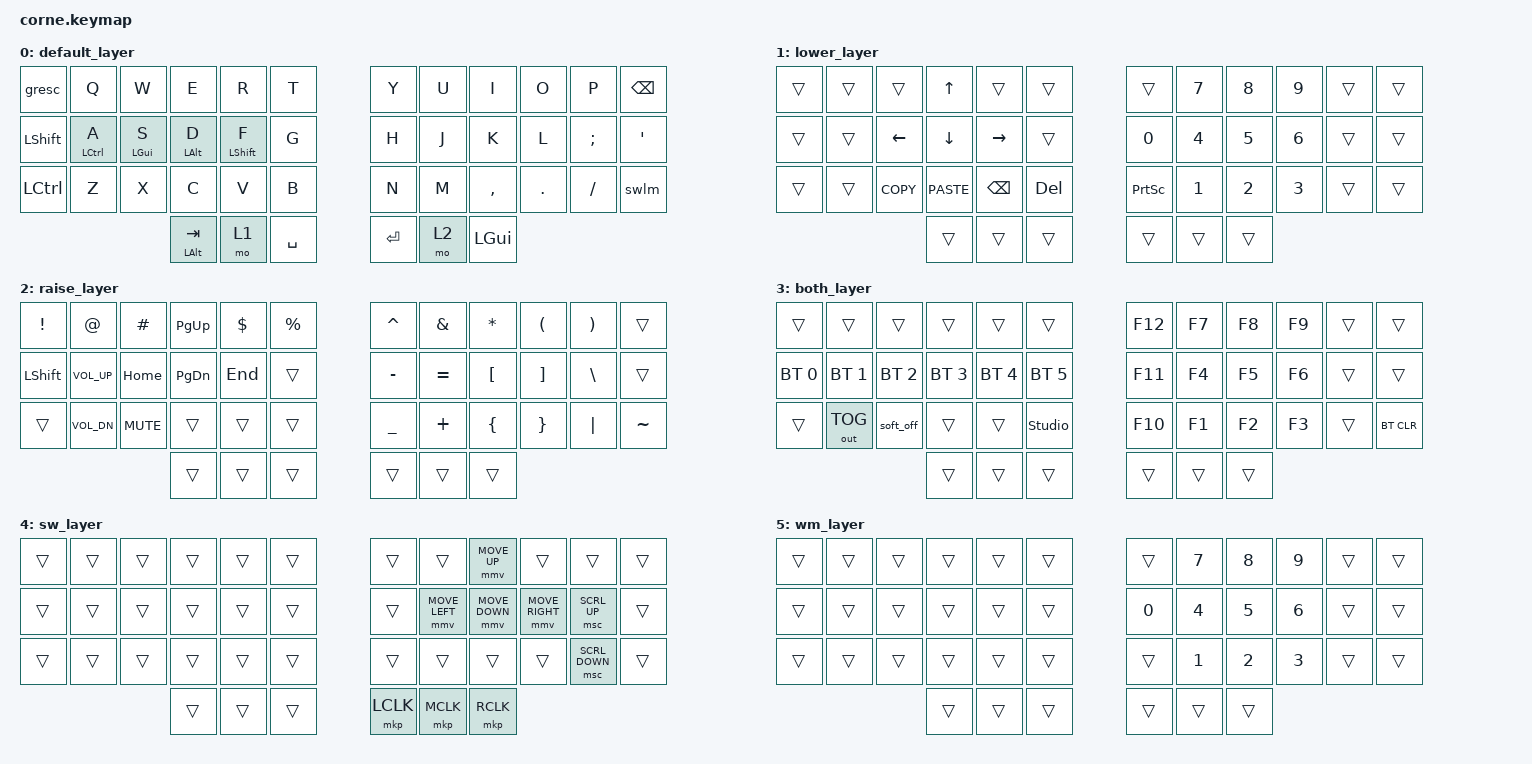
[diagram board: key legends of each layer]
#include <behaviors.dtsi>
#include <dt-bindings/zmk/keys.h>
#include <dt-bindings/zmk/bt.h>

// --------------- mouse
// https://zmk.dev/docs/keymaps/behaviors/mouse-emulation#advanced-configuration
#define ZMK_POINTING_DEFAULT_MOVE_VAL 800  // default: 600
#define ZMK_POINTING_DEFAULT_SCRL_VAL 180    // default: 10

#include <dt-bindings/zmk/pointing.h>
// ----------------------

#include <dt-bindings/zmk/outputs.h>

// https://zmk.dev/docs/config/behaviors#two-axis-input
&mmv { // mouse movement
    x-input-code = <INPUT_REL_X>;
    y-input-code = <INPUT_REL_Y>;
    time-to-max-speed-ms = <600>;
    // 0 - uniform speed, 1 - uniform acceleration, 2 - linear acceleration
    acceleration-exponent = <1>;
};

&msc { // mouse scroll
    x-input-code = <INPUT_REL_HWHEEL>;
    y-input-code = <INPUT_REL_WHEEL>;
    // time-to-max-speed-ms = <500>;
    // 0 - uniform speed, 1 - uniform acceleration, 2 - linear acceleration
    // acceleration-exponent = <1>;
};

// https://zmk.dev/docs/keymaps/behaviors/soft-off
//&soft_off {
    // Its actually inconvenient :((
    // hold-time-ms = <5000>;         // Only turn off it the key is held for 5 seconds or longer.
//};

/ {

    // https://zmk.dev/docs/keymaps/conditional-layers
    conditional_layers {
        compatible = "zmk,conditional-layers";
        tri_layer {
            if-layers = <1 2>;
            then-layer = <3>;
        };
    };

    combos {
        compatible = "zmk,combos";
        combo_mouse_layer {
            timeout-ms = <150>;
            key-positions = <38 17>; // SPACE G
            bindings = <&mo 4>;
        };
    };

    // https://zmk.dev/docs/features/low-power-states#wakeup-sources
    kscan: kscan {
        compatible = "zmk,kscan-gpio-matrix";
        diode-direction = "col2row";
        wakeup-source;
    };

    macros {
        /**
        * Temporarily switches to a layer (`&mo`) while a modifier is held.
        * Analogous to QMK's `LM()`, using a parameterized macro.
        *
        * Params:
        *  1. Layer to switch to
        *  2. Modifier to press while layer is active
        *
        * Example:
        *  `&lm NUM_LAYER LSHIFT`
        */
        lm: lm {
            compatible = "zmk,behavior-macro-two-param";
            wait-ms = <0>;
            tap-ms = <0>;
            #binding-cells = <2>;
            bindings
                = <&macro_param_1to1>
                , <&macro_press &mo MACRO_PLACEHOLDER>
                , <&macro_param_2to1>
                , <&macro_press &kp MACRO_PLACEHOLDER>
                , <&macro_pause_for_release>
                , <&macro_param_2to1>
                , <&macro_release &kp MACRO_PLACEHOLDER>
                , <&macro_param_1to1>
                , <&macro_release &mo MACRO_PLACEHOLDER>
                ;
        };

        swlm: swlm { //switch language macro
            compatible = "zmk,behavior-macro";
            #binding-cells = <0>;
            bindings
                = <&macro_press &kp LALT>
                , <&macro_tap &kp SPACE>
                , <&macro_release &kp LALT>
                ;
        };
    };

    behaviors {
      hm: homerow_mods {
            compatible = "zmk,behavior-hold-tap";
            #binding-cells = <2>;
            tapping-term-ms = <600>;
            quick-tap-ms = <0>;
            flavor = "tap-preferred";
            bindings = <&kp>, <&kp>;
        };
    };



    keymap {
        compatible = "zmk,keymap";

        default_layer { // 0th
            bindings = <
//┌──────────────┬────────────┬────────────┬────────────┬────────────┬────────┐      ┌────────────┬──────────────┬───────────────┬───────────────┬────────────────┬─────────────────┐
   &gresc          &kp Q        &kp W        &kp E       &kp R         &kp T            &kp Y         &kp U           &kp I          &kp O            &kp P            &kp BSPC
//├──────────────┼────────────┼────────────┼────────────┼────────────┼────────┤      ├────────────┼──────────────┼───────────────┼───────────────┼────────────────┼─────────────────┤
   &kp LSHIFT      &hm LCTRL A  &hm LGUI S   &hm LALT D  &hm LSHIFT F  &kp G            &kp H         &kp J           &kp K          &kp L            &kp SEMI         &kp SQT
//├──────────────┼────────────┼────────────┼────────────┼────────────┼────────┤      ├────────────┼──────────────┼───────────────┼───────────────┼────────────────┼─────────────────┤
   &kp LCTRL       &kp Z        &kp X        &kp C       &kp V         &kp B            &kp N         &kp M           &kp COMMA      &kp DOT          &kp FSLH         &swlm
//└──────────────┴────────────┴────────────┴────────────┴────────────┴────────┘      └────────────┴──────────────┴───────────────┴───────────────┴────────────────┴─────────────────┘
//                                                 ┌────────┬────────┬────────┐      ┌────────┬────────┬────────┐
                                                &mt LALT TAB   &mo 1  &kp SPACE       &kp RET   &mo 2   &kp LGUI
//                                                 └────────┴────────┴────────┘      └────────┴────────┴────────┘
            >;
     };

        lower_layer { // 1st
            bindings = <
//┌──────────┬────────────┬────────────┬────────────┬──────────┬────────┐      ┌────────────┬──────────────┬───────────────┬───────────────┬────────────────┬─────────────────┐
    &trans      &trans       &trans       &kp UP      &trans     &trans            &trans       &kp N7         &kp N8          &kp N9           &trans          &trans
//├──────────┼────────────┼────────────┼────────────┼──────────┼────────┤      ├────────────┼──────────────┼───────────────┼───────────────┼────────────────┼─────────────────┤
    &trans     &trans      &kp LEFT      &kp DOWN    &kp RIGHT  &trans            &kp N0       &kp N4         &kp N5          &kp N6        &trans            &trans
//├──────────┼────────────┼────────────┼────────────┼──────────┼────────┤      ├────────────┼──────────────┼───────────────┼───────────────┼────────────────┼─────────────────┤
    &trans      &trans      &kp K_COPY   &kp K_PASTE  &kp BSPC   &kp DEL         &kp PSCRN      &kp N1         &kp N2          &kp N3        &trans            &trans
//└──────────┴────────────┴────────────┴────────────┴──────────┴────────┘      └────────────┴──────────────┴───────────────┴───────────────┴────────────────┴─────────────────┘
//                                           ┌────────┬────────┬────────┐      ┌────────┬────────┬────────┐
                                              &trans    &trans   &trans          &trans   &trans   &trans
//                                           └────────┴────────┴────────┘      └────────┴────────┴────────┘
            >;
        }; 

        raise_layer { // 2nd
            bindings = <
//┌──────────┬────────────┬────────────┬────────────┬──────────┬────────┐      ┌────────────┬──────────────┬───────────────┬───────────────┬────────────────┬─────────────────┐
    &kp EXCL     &kp AT     &kp HASH    &kp PAGE_UP   &kp DLLR  &kp PRCNT        &kp CARET     &kp AMPS       &kp ASTRK       &kp LPAR        &kp RPAR         &trans
//├──────────┼────────────┼────────────┼────────────┼──────────┼────────┤      ├────────────┼──────────────┼───────────────┼───────────────┼────────────────┼─────────────────┤
   &kp LSHFT  &kp C_VOL_UP  &kp HOME   &kp PAGE_DOWN  &kp END    &trans          &kp MINUS     &kp EQUAL      &kp LBKT        &kp RBKT        &kp BSLH         &trans
//├──────────┼────────────┼────────────┼────────────┼──────────┼────────┤      ├────────────┼──────────────┼───────────────┼───────────────┼────────────────┼─────────────────┤
   &trans     &kp C_VOL_DN  &kp C_MUTE    &trans      &trans     &trans          &kp UNDER     &kp PLUS       &kp LBRC        &kp RBRC        &kp PIPE         &kp TILDE
//└──────────┴────────────┴────────────┴────────────┴──────────┴────────┘      └────────────┴──────────────┴───────────────┴───────────────┴────────────────┴─────────────────┘
//                                           ┌────────┬────────┬────────┐      ┌────────┬────────┬────────┐
                                              &trans    &trans   &trans          &trans   &trans   &trans
//                                           └────────┴────────┴────────┘      └────────┴────────┴────────┘
            >;
        };

        both_layer { // 3rd
            bindings = <
//┌────────────┬────────────┬────────────┬────────────┬──────────┬────────┐      ┌────────────┬──────────────┬───────────────┬───────────────┬────────────────┬─────────────────┐
   &trans          &trans       &trans      &trans       &trans    &trans            &kp F12       &kp F7         &kp F8        &kp F9          &trans            &trans
//├────────────┼────────────┼────────────┼────────────┼──────────┼────────┤      ├────────────┼──────────────┼───────────────┼───────────────┼────────────────┼─────────────────┤
   &bt BT_SEL 0 &bt BT_SEL 1 &bt BT_SEL 2 &bt BT_SEL 3 &bt BT_SEL 4 &bt BT_SEL 5     &kp F11       &kp F4         &kp F5        &kp F6          &trans            &trans
//├────────────┼────────────┼────────────┼────────────┼──────────┼────────┤      ├────────────┼──────────────┼───────────────┼───────────────┼────────────────┼─────────────────┤
   &trans        &out OUT_TOG   &soft_off   &trans       &trans   &studio_unlock     &kp F10       &kp F1         &kp F2        &kp F3          &trans            &bt BT_CLR
//└────────────┴────────────┴────────────┴────────────┴──────────┴────────┘      └────────────┴──────────────┴───────────────┴───────────────┴────────────────┴─────────────────┘
//                                           ┌────────┬────────┬────────┐      ┌────────┬────────┬────────┐
                                              &trans    &trans   &trans          &trans   &trans   &trans
//                                           └────────┴────────┴────────┘      └────────┴────────┴────────┘
            >;
        };

        sw_layer { // 4th
        bindings = <
//┌────────────┬────────────┬────────────┬────────────┬──────────┬────────┐      ┌────────────┬──────────────┬───────────────┬───────────────┬────────────────┬─────────────────┐
   &trans        &trans         &trans       &trans      &trans    &trans           &trans        &trans        &mmv MOVE_UP        &trans         &trans         &trans
//├────────────┼────────────┼────────────┼────────────┼──────────┼────────┤      ├────────────┼──────────────┼───────────────┼───────────────┼────────────────┼─────────────────┤
   &trans         &trans       &trans       &trans       &trans    &trans           &trans     &mmv MOVE_LEFT  &mmv MOVE_DOWN  &mmv MOVE_RIGHT  &msc SCRL_UP      &trans
//├────────────┼────────────┼────────────┼────────────┼──────────┼────────┤      ├────────────┼──────────────┼───────────────┼───────────────┼────────────────┼─────────────────┤
   &trans         &trans       &trans       &trans        &trans    &trans          &trans         &trans          &trans       &trans          &msc SCRL_DOWN    &trans
//└────────────┴────────────┴────────────┴────────────┴──────────┴────────┘      └────────────┴──────────────┴───────────────┴───────────────┴────────────────┴─────────────────┘
//                                           ┌────────┬────────┬────────┐      ┌──────────┬───────────┬──────────┐
                                              &trans    &trans   &trans          &mkp LCLK  &mkp MCLK   &mkp RCLK
//                                           └────────┴────────┴────────┘      └──────────┴───────────┴──────────┘
            >;
        };

        wm_layer { // 5th
        bindings = <
//┌────────────┬────────────┬────────────┬────────────┬──────────┬────────┐      ┌────────────┬──────────────┬───────────────┬───────────────┬────────────────┬─────────────────┐
   &trans        &trans         &trans       &trans      &trans    &trans           &trans        &kp N7         &kp N8          &kp N9            &trans          &trans
//├────────────┼────────────┼────────────┼────────────┼──────────┼────────┤      ├────────────┼──────────────┼───────────────┼───────────────┼────────────────┼─────────────────┤
   &trans         &trans       &trans       &trans        &trans    &trans            &kp N0      &kp N4         &kp N5          &kp N6            &trans          &trans
//├────────────┼────────────┼────────────┼────────────┼──────────┼────────┤      ├────────────┼──────────────┼───────────────┼───────────────┼────────────────┼─────────────────┤
   &trans         &trans       &trans       &trans        &trans    &trans            &trans      &kp N1         &kp N2          &kp N3            &trans          &trans
//└────────────┴────────────┴────────────┴────────────┴──────────┴────────┘      └────────────┴──────────────┴───────────────┴───────────────┴────────────────┴─────────────────┘
//                                           ┌────────┬────────┬────────┐      ┌────────┬────────┬────────┐
                                              &trans    &trans   &trans          &trans   &trans   &trans
//                                           └────────┴────────┴────────┘      └────────┴────────┴────────┘
            >;
        };
    };
};
